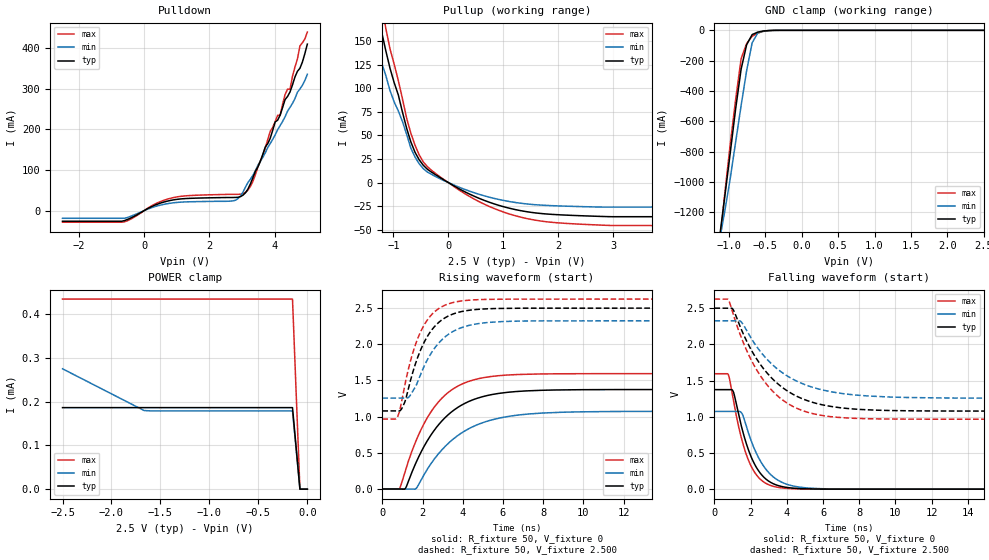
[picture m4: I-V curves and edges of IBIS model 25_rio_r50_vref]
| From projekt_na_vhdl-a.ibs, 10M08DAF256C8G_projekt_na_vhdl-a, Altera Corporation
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|MODEL 25_rio_r50_vref
[Model]   25_rio_r50_vref
Model_type   I/O
Polarity   Non-Inverting
Enable Active-Low
Vinl   = 0.700
Vinh   = 1.700
Vmeas  = 1.250
Rref   = 10M
Cref   = 0pF
Vref   = 0.000
C_comp 4.5pF   4.5pF   4.5pF
[Model Spec]
Vinh   1.700   1.700   1.700
Vinl   0.700   0.700   0.700
[Temperature Range]   25   85   0
[Voltage Range]   2.500   2.325   2.625
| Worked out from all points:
|   slope of the pulldown table from 0 to 0.375 V, typ, clamps not added: 25.2 ohm
|   slope of the pullup table from 0 to 0.375 V, typ, clamps not added: 31.4 ohm
|   GND clamp passes 1 mA (typ) near -0.44 V on its own axis
|   rising waveform, R_fixture 50, V_fixture 0: 20-80 % time 2.07ns typ, 2.37ns min, 1.82ns max; typ from 0 V to 1.37 V
|   falling waveform, R_fixture 50, V_fixture 0: 20-80 % time 1.11ns typ, 1.28ns min, 1.02ns max; typ from 1.37 V to 0 V
|   rising waveform, R_fixture 50, V_fixture 2.500: 20-80 % time 1.23ns typ, 1.42ns min, 1.12ns max; typ from 1.08 V to 2.5 V
|   falling waveform, R_fixture 50, V_fixture 2.500: 20-80 % time 2.52ns typ, 2.78ns min, 2.25ns max; typ from 2.5 V to 1.08 V
[GND Clamp]
| voltage   I (typ)   I (min)   I (max)
-2.5V     -5.9A      -5.032A    -6.888A
-1.136V   -1.391A    -1.401A    -1.44A
-1.061V   -1.107A    -1.198A    -1.088A
-984.9mV  -815mA     -981.8mA   -757.7mA
-909.1mV  -518.6mA   -737.4mA   -457.2mA
-833.3mV  -255mA     -495.3mA   -186.5mA
-757.6mV  -94.81mA   -265.4mA   -87.08mA
-681.8mV  -28.16mA   -82.48mA   -39.35mA
-606.1mV  -11.9mA    -18.11mA   -18.07mA
-530.3mV  -4.732mA   -5.387mA   -7.205mA
-454.6mV  -1.272mA   -1.238mA   -2.74mA
2.5V      0A         0A         0A
[Pulldown]
| voltage   I (typ)   I (min)   I (max)
-2.5V     -26.09mA   -18.87mA   -28.48mA
-606.1mV  -24.68mA   -18.87mA   -27.68mA
833.3mV   25.48mA    18.54mA    30.82mA
2.727V    32.32mA    24.06mA    39.97mA
3.106V    43.99mA    58.19mA    45.13mA
3.333V    81.23mA    86.79mA    72.31mA
3.864V    178.2mA    165.1mA    195.2mA
4.167V    234.9mA    209.3mA    234.5mA
4.318V    273.2mA    231mA      285.6mA
4.47V     292mA      254mA      298.8mA
4.773V    350.2mA    299.3mA    405.3mA
5V        409.7mA    335.3mA    439.3mA
[Power Clamp]
| voltage   I (typ)   I (min)   I (max)
-2.5V     186.7uA    275.6uA    435.2uA
-1.667V   186.7uA    180uA      435.2uA
-151.5mV  186.7uA    179.1uA    435.2uA
-75.76mV  0A         0A         0A
0V        0A         0A         0A
[Pullup]
| voltage   I (typ)   I (min)   I (max)
-2.5V     446.5mA    339.8mA    511.4mA
-1.439V   205.9mA    164.2mA    236.5mA
-1.212V   159.5mA    126.8mA    188.4mA
-1.136V   139.7mA    113.4mA    163.4mA
-1.061V   121.2mA    97.68mA    141.8mA
-757.6mV  57.5mA     51.05mA    68.13mA
-606.1mV  32.16mA    27.11mA    39.62mA
-378.8mV  14mA       11.07mA    16.8mA
75.76mV   -2.646mA   -1.959mA   -3.15mA
833.3mV   -22.66mA   -16.84mA   -27.57mA
1.667V    -32.77mA   -23.89mA   -40.74mA
5V        -36.29mA   -26.08mA   -45.66mA
[Ramp]
dV/dt_r   8.247e-01/2.070e-09 6.439e-01/2.375e-09 9.565e-01/1.819e-09
dV/dt_f   8.530e-01/2.523e-09 6.414e-01/2.780e-09 9.953e-01/2.248e-09
R_load = 50ohms
[Rising Waveform]
R_fixture   = 50
V_fixture   = 0
V_fixture_min = 0
V_fixture_max = 0
| time   V (typ)   V (min)   V (max)
0s        48.43nV    294.7nV    73.35nV
851.9ps   -307.6uV   1.686uV    3.872mV
1.16ns    13.31mV    -19.94uV   269.5mV
1.657ns   353.5mV    1.865mV    653.9mV
2.272ns   683mV      288.2mV    1.002V
2.958ns   939.4mV    540.2mV    1.254V
4.709ns   1.253V     886.3mV    1.52V
6.295ns   1.338V     1.004V     1.576V
8.685ns   1.369V     1.058V     1.592V
23.64ns   1.375V     1.073V     1.594V
[Falling Waveform]
R_fixture   = 50
V_fixture   = 0
V_fixture_min = 0
V_fixture_max = 0
| time   V (typ)   V (min)   V (max)
0s        1.375V     1.073V     1.594V
779.6ps   1.375V     1.073V     1.574V
1.063ns   1.332V     1.073V     1.202V
1.465ns   893.8mV    1.063V     729.7mV
1.819ns   585.3mV    822.5mV    438.9mV
2.221ns   343.9mV    548.8mV    232.3mV
3.26ns    74.03mV    167.8mV    38.64mV
4.229ns   16.76mV    50.83mV    7.099mV
5.883ns   1.328mV    6.516mV    393uV
23.6ns    54.05nV    299.4nV    54.87nV
[Rising Waveform]
R_fixture   = 50
V_fixture   = 2.500
V_fixture_min   = 2.325
V_fixture_max   = 2.625
| time   V (typ)   V (min)   V (max)
0s        1.078V     1.256V     966mV
780.9ps   1.078V     1.256V     1.014V
1.089ns   1.183V     1.256V     1.399V
1.349ns   1.446V     1.28V      1.717V
1.728ns   1.797V     1.46V      2.058V
2.13ns    2.055V     1.727V     2.292V
2.745ns   2.288V     1.999V     2.482V
3.479ns   2.415V     2.172V     2.575V
6.389ns   2.498V     2.318V     2.624V
23.64ns   2.5V       2.325V     2.625V
[Falling Waveform]
R_fixture   = 50
V_fixture   = 2.500
V_fixture_min   = 2.325
V_fixture_max   = 2.625
| time   V (typ)   V (min)   V (max)
0s        2.5V       2.325V     2.625V
779.6ps   2.5V       2.325V     2.61V
1.039ns   2.478V     2.325V     2.415V
1.465ns   2.218V     2.314V     2.106V
2.15ns    1.872V     2.036V     1.728V
2.93ns    1.598V     1.787V     1.434V
3.945ns   1.371V     1.576V     1.2V
5.198ns   1.217V     1.425V     1.059V
9.521ns   1.087V     1.274V     969mV
23.6ns    1.078V     1.256V     966mV
